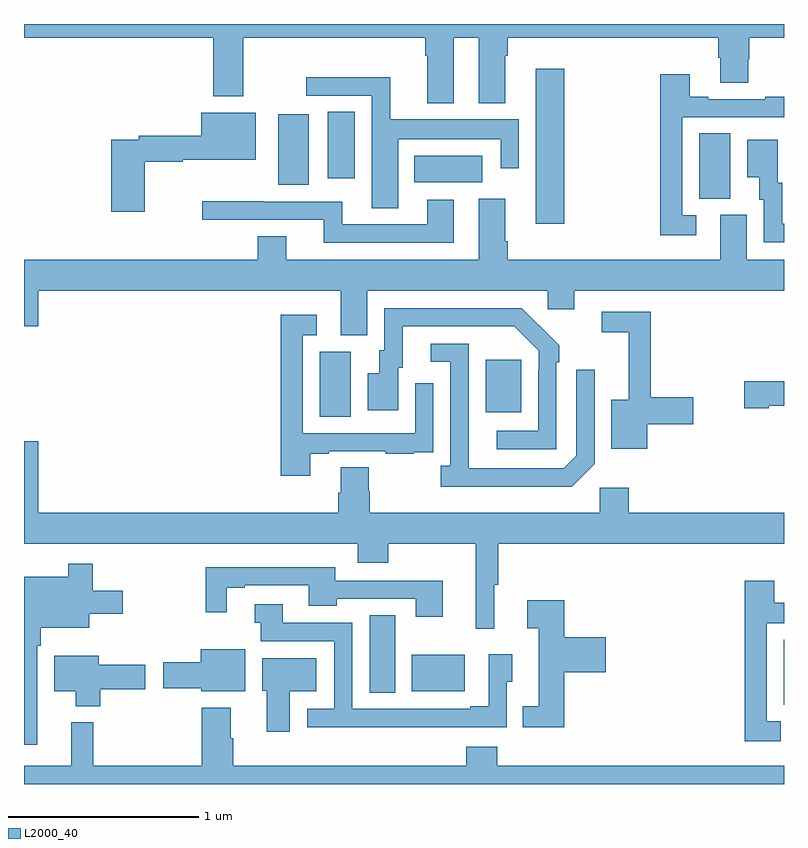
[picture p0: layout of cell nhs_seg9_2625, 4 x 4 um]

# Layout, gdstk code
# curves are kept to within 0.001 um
import gdstk
lib = gdstk.Library(unit=1e-6, precision=1e-09)
def R(c, l, rs):  # rectangles x0, y0, x1, y1
    for r in rs: c.add(gdstk.rectangle(r[:2], r[2:], *l))
def P(c, l, *ps):  # polygons
    for p in ps: c.add(gdstk.Polygon(p, *l))
L2000_40 = (2000, 40)

nhs_seg9_2625 = lib.new_cell('nhs_seg9_2625')
R(nhs_seg9_2625, L2000_40, [(264.998,1184.917,265,1185.26), (262.82,1184.98,262.954,1185.389), (263.042,1184.987,263.32,1185.181), (262.556,1186.432,262.72,1186.776), (263.429,1186.457,263.617,1186.732), (263.693,1187.448,263.843,1188.265), (264.554,1187.581,264.718,1187.924), (262.337,1187.654,262.498,1188.025), (263.054,1187.666,263.413,1187.806), (262.598,1187.688,262.741,1188.038)])
P(nhs_seg9_2625, L2000_40, [(263.263,1188.428),(263.393,1188.428),(263.393,1188.083),(263.533,1188.083),(263.533,1188.332),(263.546,1188.332),(263.546,1188.428),(264.653,1188.428),(264.653,1188.322),(264.665,1188.322),(264.665,1188.19),(264.813,1188.19),(264.813,1188.315),(264.818,1188.315),(264.818,1188.428),(265,1188.428),(265,1188.5),(261,1188.5),(261,1188.428),(261.995,1188.428),(261.995,1188.119),(262.155,1188.119),(262.155,1188.428),(263.111,1188.428),(263.111,1188.332),(263.123,1188.332),(263.123,1188.083),(263.263,1188.083)],
  [(264.538,1187.493),(264.465,1187.493),(264.465,1188.009),(265,1188.009),(265,1188.118),(264.901,1188.118),(264.901,1188.105),(264.601,1188.105),(264.601,1188.118),(264.505,1188.118),(264.505,1188.235),(264.349,1188.235),(264.349,1187.388),(264.538,1187.388)],
  [(262.969,1187.894),(263.508,1187.894),(263.508,1187.742),(263.604,1187.742),(263.604,1187.998),(262.928,1187.998),(262.928,1188.221),(262.485,1188.221),(262.485,1188.123),(262.829,1188.123),(262.829,1187.53),(262.969,1187.53)],
  [(261.636,1187.776),(261.836,1187.776),(261.836,1187.786),(262.219,1187.786),(262.219,1188.034),(261.932,1188.034),(261.932,1187.912),(261.604,1187.912),(261.604,1187.892),(261.458,1187.892),(261.458,1187.511),(261.636,1187.511)],
  [(265,1187.448),(264.991,1187.448),(264.991,1187.664),(264.967,1187.664),(264.967,1187.89),(264.806,1187.89),(264.806,1187.693),(264.869,1187.693),(264.869,1187.574),(264.894,1187.574),(264.894,1187.352),(265,1187.352)],
  [(262.807,1187.096),(263.757,1187.096),(263.757,1186.998),(263.896,1186.998),(263.896,1187.096),(265,1187.096),(265,1187.26),(264.805,1187.26),(264.805,1187.496),(264.665,1187.496),(264.665,1187.26),(263.546,1187.26),(263.546,1187.356),(263.533,1187.356),(263.533,1187.581),(263.393,1187.581),(263.393,1187.26),(262.381,1187.26),(262.381,1187.384),(262.229,1187.384),(262.229,1187.26),(261,1187.26),(261,1186.908),(261.076,1186.908),(261.076,1187.096),(262.667,1187.096),(262.667,1186.861),(262.807,1186.861)],
  [(263.263,1187.575),(263.123,1187.575),(263.123,1187.445),(262.675,1187.445),(262.675,1187.565),(262.259,1187.565),(262.259,1187.568),(261.939,1187.568),(261.939,1187.469),(262.577,1187.469),(262.577,1187.349),(263.263,1187.349)],
  [(263.802,1186.721),(263.817,1186.721),(263.817,1186.809),(263.62,1187.004),(262.896,1187.004),(262.896,1186.782),(262.871,1186.782),(262.871,1186.663),(262.808,1186.663),(262.808,1186.467),(262.969,1186.467),(262.969,1186.692),(262.993,1186.692),(262.993,1186.908),(263.581,1186.908),(263.709,1186.779),(263.709,1186.679),(263.706,1186.679),(263.706,1186.359),(263.487,1186.359),(263.487,1186.263),(263.802,1186.263)],
  [(264.28,1186.393),(264.523,1186.393),(264.523,1186.535),(264.299,1186.535),(264.299,1186.986),(264.042,1186.986),(264.042,1186.878),(264.182,1186.878),(264.182,1186.522),(264.092,1186.522),(264.092,1186.265),(264.28,1186.265)],
  [(262.507,1186.239),(262.603,1186.239),(262.603,1186.251),(262.903,1186.251),(262.903,1186.239),(263.051,1186.239),(263.051,1186.245),(263.153,1186.245),(263.153,1186.354),(263.154,1186.354),(263.154,1186.609),(263.058,1186.609),(263.058,1186.347),(262.467,1186.347),(262.467,1186.863),(262.54,1186.863),(262.54,1186.969),(262.351,1186.969),(262.351,1186.122),(262.507,1186.122)],
  [(264.003,1186.185),(264.003,1186.681),(263.907,1186.681),(263.907,1186.227),(263.841,1186.161),(263.341,1186.161),(263.34,1186.818),(263.142,1186.818),(263.142,1186.722),(263.244,1186.722),(263.244,1186.174),(263.193,1186.174),(263.193,1186.064),(263.882,1186.064)],
  [(264.921,1186.49),(265,1186.49),(265,1186.62),(264.792,1186.62),(264.792,1186.478),(264.921,1186.478)],
  [(263.476,1185.549),(263.495,1185.549),(263.495,1185.764),(265,1185.764),(265,1185.928),(264.182,1185.928),(264.182,1186.06),(264.03,1186.06),(264.03,1185.928),(262.82,1185.928),(262.82,1186.041),(262.815,1186.041),(262.815,1186.166),(262.667,1186.166),(262.667,1186.034),(262.655,1186.034),(262.655,1185.928),(261.076,1185.928),(261.076,1186.303),(261,1186.303),(261,1185.764),(262.757,1185.764),(262.757,1185.665),(262.917,1185.665),(262.917,1185.764),(263.378,1185.764),(263.378,1185.318),(263.476,1185.318)],
  [(261.069,1185.227),(261.089,1185.227),(261.089,1185.323),(261.343,1185.323),(261.343,1185.395),(261.52,1185.395),(261.52,1185.517),(261.362,1185.517),(261.362,1185.658),(261.234,1185.658),(261.234,1185.592),(261,1185.592),(261,1184.706),(261.069,1184.706)],
  [(263.203,1185.57),(262.639,1185.57),(262.639,1185.642),(261.957,1185.642),(261.957,1185.405),(262.066,1185.405),(262.066,1185.534),(262.162,1185.534),(262.162,1185.546),(262.499,1185.546),(262.499,1185.437),(262.647,1185.437),(262.647,1185.474),(263.063,1185.474),(263.063,1185.381),(263.203,1185.381)],
  [(264.982,1184.829),(264.909,1184.829),(264.909,1185.345),(265,1185.345),(265,1185.454),(264.949,1185.454),(264.949,1185.571),(264.793,1185.571),(264.793,1184.724),(264.982,1184.724)],
  [(263.843,1185.089),(264.061,1185.089),(264.061,1185.272),(263.843,1185.272),(263.843,1185.466),(263.649,1185.466),(263.649,1185.319),(263.708,1185.319),(263.708,1184.908),(263.626,1184.908),(263.626,1184.798),(263.843,1184.798)],
  [(263.243,1184.799),(263.541,1184.799),(263.541,1185.039),(263.569,1185.039),(263.569,1185.184),(263.445,1185.184),(263.445,1184.908),(263.348,1184.908),(263.348,1184.895),(262.728,1184.895),(262.728,1185.348),(262.363,1185.348),(262.363,1185.447),(262.215,1185.447),(262.215,1185.35),(262.246,1185.35),(262.246,1185.252),(262.632,1185.252),(262.632,1184.895),(262.491,1184.895),(262.491,1184.798),(263.243,1184.798)],
  [(262.165,1185.208),(261.929,1185.208),(261.929,1185.14),(261.732,1185.14),(261.732,1185.005),(261.933,1185.005),(261.933,1184.987),(262.165,1184.987)],
  [(261.402,1184.998),(261.637,1184.998),(261.637,1185.127),(261.394,1185.127),(261.394,1185.175),(261.158,1185.175),(261.158,1184.987),(261.272,1184.987),(261.272,1184.909),(261.402,1184.909)],
  [(262.399,1184.987),(262.537,1184.987),(262.537,1185.163),(262.253,1185.163),(262.253,1184.991),(262.277,1184.991),(262.277,1184.775),(262.399,1184.775)],
  [(265,1184.596),(263.492,1184.596),(263.492,1184.695),(263.327,1184.695),(263.327,1184.596),(262.1,1184.596),(262.1,1184.741),(262.087,1184.741),(262.087,1184.902),(261.935,1184.902),(261.935,1184.596),(261.365,1184.596),(261.365,1184.824),(261.248,1184.824),(261.248,1184.596),(261,1184.596),(261,1184.5),(265,1184.5)])

lib.write_gds('nhs_seg9_2625.gds')
